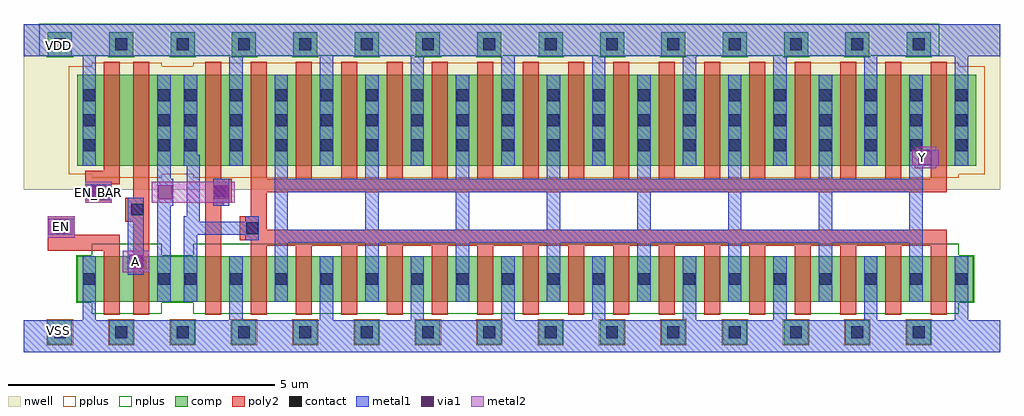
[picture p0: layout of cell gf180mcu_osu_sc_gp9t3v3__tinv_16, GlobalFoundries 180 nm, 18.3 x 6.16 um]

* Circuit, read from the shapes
.subckt gf180mcu_osu_sc_gp9t3v3__tinv_16 A EN EN_BAR VDD VSS Y
XM1 n1 EN VSS VSS nfet_03v3 w=0.85u l=0.3u
XM2 n2 A n1 VSS nfet_03v3 w=0.85u l=0.3u
XM3 VSS n2 n2 VSS nfet_03v3 w=0.85u l=0.3u
XM4 Y n2 VSS VSS nfet_03v3 w=0.85u l=0.3u m=16
XM5 n3 EN_BAR VDD VDD pfet_03v3 w=1.7u l=0.3u
XM6 n2 A n3 VDD pfet_03v3 w=1.7u l=0.3u
XM7 VDD n2 n2 VDD pfet_03v3 w=1.7u l=0.3u
XM8 Y n2 VDD VDD pfet_03v3 w=1.7u l=0.3u m=16
.ends

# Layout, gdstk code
import gdstk
lib = gdstk.Library(unit=1e-6, precision=1e-09)
def R(c, l, rs):  # rectangles x0, y0, x1, y1
    for r in rs: c.add(gdstk.rectangle(r[:2], r[2:], *l))
def A(c, l, x, y, w, h, nx, ny, dx, dy):  # array of equal rectangles
    R(c, l, [(x+i*dx, y+j*dy, x+i*dx+w, y+j*dy+h) for i in range(nx) for j in range(ny)])
nwell = (21, 0)
comp = (22, 0)
poly2 = (30, 0)
pplus = (31, 0)
nplus = (32, 0)
contact = (33, 0)
metal1 = (34, 0)
via1 = (35, 0)
metal2 = (36, 0)

gf180mcu_osu_sc_gp9t3v3_ = lib.new_cell('gf180mcu_osu_sc_gp9t3v3__tinv_16')
R(gf180mcu_osu_sc_gp9t3v3_, nwell, [(0,3.05,18.3,6.15)])
A(gf180mcu_osu_sc_gp9t3v3_, comp, 0.45, 0.15, 0.45, 0.45, 15, 2, 1.15, 5.4)
R(gf180mcu_osu_sc_gp9t3v3_, comp, [(1,0.95,17.8,1.8), (1,3.5,17.85,5.2)])
A(gf180mcu_osu_sc_gp9t3v3_, poly2, 4.25, 0.7, 0.3, 1.3, 16, 1, 0.85, 0)
A(gf180mcu_osu_sc_gp9t3v3_, poly2, 3.4, 3.25, 0.3, 2.2, 17, 1, 0.85, 0)
R(gf180mcu_osu_sc_gp9t3v3_, poly2, [(1.5,0.7,1.8,1.9), (2.05,0.7,2.35,2.45), (3.4,0.7,3.7,2.75), (0.45,1.9,1.8,2.2), (4.25,2,17.3,2.1), (4.05,2.1,17.3,2.3), (0.45,2.2,0.95,2.55), (4.05,2.3,4.55,2.55), (1.9,2.45,2.35,2.9), (4.25,2.55,4.55,3), (3.4,2.75,3.75,2.8), (1.15,2.8,1.65,3.15), (3.4,2.8,3.9,3.25), (2.05,2.9,2.35,5.45), (4.25,3,17.3,3.25), (1.15,3.15,1.8,3.4), (1.5,3.4,1.8,5.45)])
A(gf180mcu_osu_sc_gp9t3v3_, pplus, 0.43, 0.13, 0.49, 0.49, 15, 1, 1.15, 0)
R(gf180mcu_osu_sc_gp9t3v3_, pplus, [(1.27,3.27,2.58,3.34), (3.17,3.27,17.53,3.34), (0.84,3.34,18.01,5.36), (1.27,5.36,2.58,5.43), (3.17,5.36,17.53,5.43)])
A(gf180mcu_osu_sc_gp9t3v3_, nplus, 0.43, 5.53, 0.49, 0.03, 15, 1, 1.15, 0)
R(gf180mcu_osu_sc_gp9t3v3_, nplus, [(1.27,0.72,2.58,0.93), (3.17,0.72,17.53,0.93), (0.98,0.93,17.82,1.82), (1.27,1.82,2.58,2.03), (3.17,1.82,17.53,2.03), (0.29,5.56,17.16,6.16)])
A(gf180mcu_osu_sc_gp9t3v3_, contact, 0.565, 0.265, 0.22, 0.22, 15, 2, 1.15, 5.4)
A(gf180mcu_osu_sc_gp9t3v3_, contact, 3.015, 1.265, 0.22, 0.22, 18, 2, 0.85, 2.505)
A(gf180mcu_osu_sc_gp9t3v3_, contact, 1.115, 3.77, 0.22, 0.22, 1, 3, 0, 0.47)
A(gf180mcu_osu_sc_gp9t3v3_, contact, 2.515, 3.77, 0.22, 0.22, 1, 3, 0, 0.47)
A(gf180mcu_osu_sc_gp9t3v3_, contact, 3.015, 4.24, 0.22, 0.22, 18, 2, 0.85, 0.47)
R(gf180mcu_osu_sc_gp9t3v3_, contact, [(1.115,1.265,1.335,1.485), (2.515,1.265,2.735,1.485), (0.565,2.215,0.785,2.435), (4.165,2.215,4.385,2.435), (2.015,2.565,2.235,2.785), (1.265,2.915,1.485,3.135), (3.565,2.915,3.785,3.135)])
A(gf180mcu_osu_sc_gp9t3v3_, metal1, 3.85, 0.6, 0.25, 1.2, 9, 1, 1.7, 0)
A(gf180mcu_osu_sc_gp9t3v3_, metal1, 4.7, 0.95, 0.25, 1.1, 8, 1, 1.7, 0)
A(gf180mcu_osu_sc_gp9t3v3_, metal1, 4.7, 2.3, 0.25, 0.7, 8, 1, 1.7, 0)
A(gf180mcu_osu_sc_gp9t3v3_, metal1, 4.7, 3.25, 0.25, 1.95, 7, 1, 1.7, 0)
A(gf180mcu_osu_sc_gp9t3v3_, metal1, 3.85, 3.5, 0.25, 2.05, 9, 1, 1.7, 0)
R(gf180mcu_osu_sc_gp9t3v3_, metal1, [(0,0,18.3,0.6), (1.1,0.6,1.35,1.8), (2.5,0.95,2.75,2.75), (3,0.95,3.25,2.2), (1.95,1.45,2.25,2.9), (4.7,2.05,16.85,2.3), (4.15,2.1,4.4,2.2), (0.45,2.2,0.95,2.5), (3,2.2,4.4,2.45), (3,2.45,3.3,2.55), (4.15,2.45,4.4,2.55), (3.05,2.55,3.3,3.5), (2.5,2.75,2.8,3.25), (3.55,2.75,3.85,3.25), (1.15,2.85,1.65,3.15), (4.7,3,16.85,3.25), (2.5,3.25,2.75,5.2), (16.6,3.25,16.85,3.5), (1.1,3.5,1.35,5.55), (3,3.5,3.3,3.7), (16.6,3.5,17.15,3.8), (3,3.7,3.25,5.2), (16.6,3.8,16.85,5.2), (0,5.55,18.3,6.15)])
R(gf180mcu_osu_sc_gp9t3v3_, via1, [(1.97,1.57,2.23,1.83), (0.57,2.22,0.83,2.48), (1.27,2.87,1.53,3.13), (2.52,2.87,2.78,3.13), (3.57,2.87,3.83,3.13), (16.77,3.52,17.03,3.78)])
R(gf180mcu_osu_sc_gp9t3v3_, metal2, [(1.85,1.5,2.35,1.9), (0.45,2.15,0.95,2.55), (1.15,2.8,1.65,3.2), (2.4,2.8,3.95,3.2), (16.7,3.45,17.1,3.5), (16.65,3.5,17.15,3.8), (16.7,3.8,17.1,3.85)])
gf180mcu_osu_sc_gp9t3v3_.add(gdstk.Label('VDD', (0.65,5.75), layer=34, texttype=0))
gf180mcu_osu_sc_gp9t3v3_.add(gdstk.Label('VSS', (0.65,0.4), layer=34, texttype=0))
gf180mcu_osu_sc_gp9t3v3_.add(gdstk.Label('A', (2.1,1.7), layer=36, texttype=10))
gf180mcu_osu_sc_gp9t3v3_.add(gdstk.Label('Y', (16.85,3.65), layer=36, texttype=10))
gf180mcu_osu_sc_gp9t3v3_.add(gdstk.Label('EN', (0.7,2.35), layer=36, texttype=10))
gf180mcu_osu_sc_gp9t3v3_.add(gdstk.Label('EN_BAR', (1.4,3), layer=36, texttype=10))

lib.write_gds('gf180mcu_osu_sc_gp9t3v3__tinv_16.gds')
